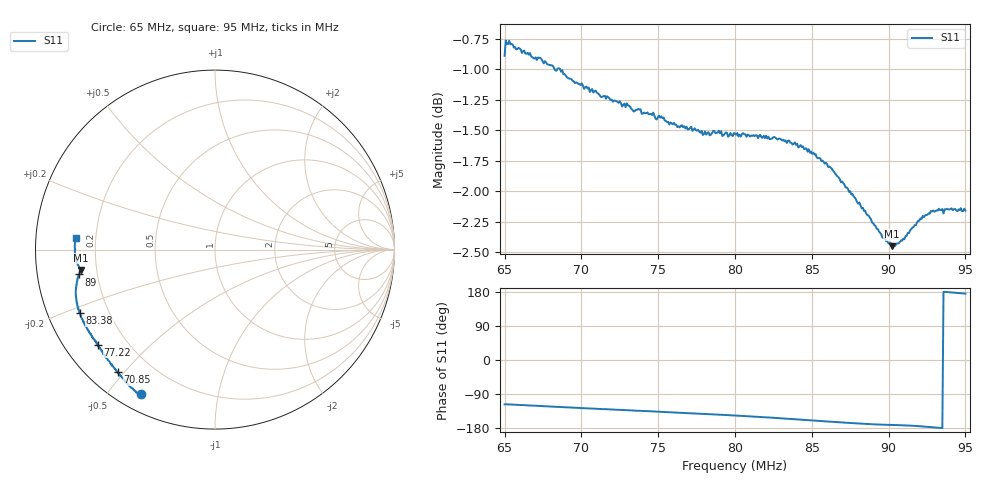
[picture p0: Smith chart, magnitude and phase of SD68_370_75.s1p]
! NanoVNA-App
! Date: 2025-08-09 12:52:52
! Start: 65MHz Stop: 95MHz Points: 401
! S-Parameter data: F S11
# Hz S RI R 50
!  Frequency  S11_Real  S11_Imag
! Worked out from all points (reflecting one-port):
!   401 points, 65 MHz to 95 MHz, reference 50 ohm
!   lowest |S11| = -2.4 dB at 90.2 MHz (marker M1), VSWR 7.14, Z = 7.04 - j3.69 ohm
!   phase of S11 starts at -117 deg and turns -68 deg over the sweep
!   S11 on the Smith chart (normalised r, x): 65 MHz: 0.07, -0.61; 70.85 MHz: 0.08, -0.48; 77.22 MHz: 0.10, -0.35; 83.38 MHz: 0.10, -0.22; 89 MHz: 0.13, -0.09; 95 MHz: 0.12, +0.04
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6.5e7  -0.4114 -0.8033
6.5225e7  -0.4161 -0.8121
6.5375e7  -0.4192 -0.8103
6.875e7  -0.5019 -0.7354
6.9725e7  -0.5232 -0.7073
7.085e7  -0.542 -0.6841
7.25e7  -0.5721 -0.6483
7.52e7  -0.6224 -0.5826
7.625e7  -0.6366 -0.554
7.7225e7  -0.6531 -0.5296
7.8275e7  -0.669 -0.5077
8e7  -0.6996 -0.4627
8.2025e7  -0.7341 -0.402
8.3375e7  -0.7524 -0.3536
8.375e7  -0.7576 -0.3392
8.495e7  -0.7711 -0.2925
8.585e7  -0.7744 -0.2548
8.675e7  -0.7747 -0.2179
8.75e7  -0.7712 -0.1906
8.9e7  -0.7583 -0.1382
8.96e7  -0.7505 -0.1229
9.02e7  -0.7458 -0.113
9.0575e7  -0.7484 -0.1089
9.125e7  -0.7578 -0.0956
9.185e7  -0.7675 -0.0777
9.29e7  -0.7794 -0.0335
9.395e7  -0.7807 0.016
9.5e7  -0.7772 0.0663
